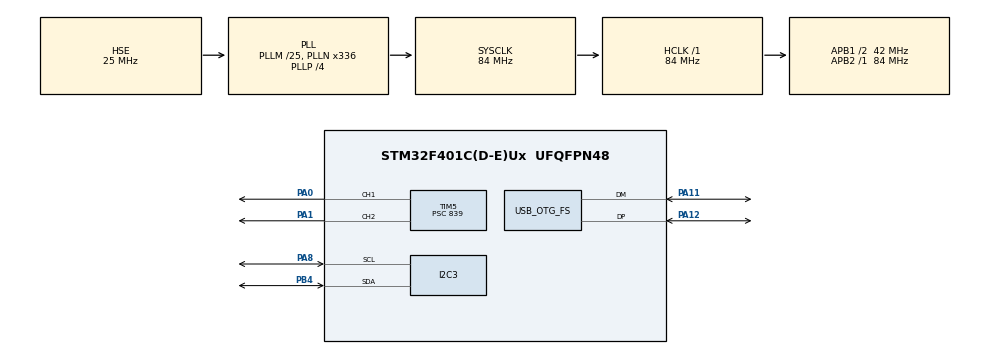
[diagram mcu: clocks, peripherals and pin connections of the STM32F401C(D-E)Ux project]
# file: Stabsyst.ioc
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I2C3.I2C_Mode=I2C_Fast
I2C3.OwnAddress=51
Mcu.Family=STM32F4
Mcu.Name=STM32F401C(D-E)Ux
Mcu.Package=UFQFPN48
NVIC.OTG_FS_IRQn=true\:0\:0\:false\:false\:true\:false\:true\:true
NVIC.PriorityGroup=NVIC_PRIORITYGROUP_4
NVIC.TIM1_UP_TIM10_IRQn=true\:0\:0\:false\:false\:true\:true\:true\:true
PA0-WKUP.Signal=S_TIM5_CH1
PA1.Signal=S_TIM5_CH2
PA11.Mode=Device_Only
PA11.Signal=USB_OTG_FS_DM
PA12.Mode=Device_Only
PA12.Signal=USB_OTG_FS_DP
PA8.Mode=I2C
PA8.Signal=I2C3_SCL
PB4.Mode=I2C
PB4.Signal=I2C3_SDA
PH0\ -\ OSC_IN.Mode=HSE-External-Oscillator
PH0\ -\ OSC_IN.Signal=RCC_OSC_IN
PH1\ -\ OSC_OUT.Mode=HSE-External-Oscillator
PH1\ -\ OSC_OUT.Signal=RCC_OSC_OUT
ProjectManager.HeapSize=0x200
ProjectManager.StackSize=0x400
ProjectManager.TargetToolchain=STM32CubeIDE
RCC.48MHZClocksFreq_Value=48000000
RCC.AHBFreq_Value=84000000
RCC.APB1CLKDivider=RCC_HCLK_DIV2
RCC.APB1Freq_Value=42000000
RCC.APB1TimFreq_Value=84000000
RCC.APB2Freq_Value=84000000
RCC.APB2TimFreq_Value=84000000
RCC.CortexFreq_Value=84000000
RCC.HCLKFreq_Value=84000000
RCC.HSE_VALUE=25000000
RCC.HSI_VALUE=16000000
RCC.LSE_VALUE=32768
RCC.PLLM=25
RCC.PLLN=336
RCC.PLLP=RCC_PLLP_DIV4
RCC.PLLQ=7
RCC.SYSCLKFreq_VALUE=84000000
RCC.SYSCLKSource=RCC_SYSCLKSOURCE_PLLCLK
RCC.VCOOutputFreq_Value=336000000
SH.S_TIM5_CH1.0=TIM5_CH1,PWM Generation1 CH1
SH.S_TIM5_CH2.0=TIM5_CH2,PWM Generation2 CH2
TIM1.Period=4999
TIM1.Prescaler=8399
TIM2.Prescaler=8399
TIM5.Channel-PWM\ Generation1\ CH1=TIM_CHANNEL_1
TIM5.Channel-PWM\ Generation2\ CH2=TIM_CHANNEL_2
TIM5.OCFastMode_PWM-PWM\ Generation1\ CH1=TIM_OCFAST_ENABLE
TIM5.OCFastMode_PWM-PWM\ Generation2\ CH2=TIM_OCFAST_ENABLE
TIM5.Period=1999
TIM5.Prescaler=839
TIM5.Pulse-PWM\ Generation1\ CH1=50
TIM5.Pulse-PWM\ Generation2\ CH2=50
USB_DEVICE.CLASS_NAME_FS=CDC
USB_DEVICE.MANUFACTURER_STRING-CDC_FS=21-IVT-3_Gorkaev_Gleb
USB_DEVICE.PRODUCT_STRING_CDC_FS=Car_model_stabsystem
USB_DEVICE.VirtualMode-CDC_FS=Cdc
USB_DEVICE.VirtualModeFS=Cdc_FS
USB_OTG_FS.VirtualMode=Device_Only
VP_TIM1_VS_ClockSourceINT.Mode=Internal
VP_TIM2_VS_ClockSourceINT.Mode=Internal
VP_TIM5_VS_ClockSourceINT.Mode=Internal
VP_USB_DEVICE_VS_USB_DEVICE_CDC_FS.Mode=CDC_FS
board=custom

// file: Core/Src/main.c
/* USER CODE BEGIN Header */
/**
  ******************************************************************************
  * @file           : main.c
  * @brief          : Main program body
  ******************************************************************************
  * @attention
  *
  * Copyright (c) 2022 STMicroelectronics.
  * All rights reserved.
  *
  * This software is licensed under terms that can be found in the LICENSE file
  * in the root directory of this software component.
  * If no LICENSE file comes with this software, it is provided AS-IS.
  *
  ******************************************************************************
  */
/* USER CODE END Header */
#include "main.h"
#include "usb_device.h"

/* USER CODE BEGIN Includes */
#include "lsm6ds3.h"
#include "usbd_cdc_if.h"
/* USER CODE END Includes */

/* USER CODE BEGIN PTD */
/**
  ******************************************************************************
  * @file           : main.c
  * @brief          : IChannel - пользовательский тип данных, представляющий
  * собой структуру из 2 переменных целого типа для работы с таймерами
  ******************************************************************************
  */
typedef struct TS{
	int32_t IChannel_1;
	int32_t IChannel_2;
} IChannel;
/* USER CODE END PTD */

 I2C_HandleTypeDef hi2c3;

TIM_HandleTypeDef htim1;
TIM_HandleTypeDef htim2;
TIM_HandleTypeDef htim5;

/* USER CODE BEGIN PV */
IChannel GetChannel;
int16_t AItarget;
uint8_t mode;
float delta;
float P,I,D;
int32_t send;
char str_tx[10];
/* USER CODE END PV */

void SystemClock_Config(void);
static void MX_GPIO_Init(void);
static void MX_I2C3_Init(void);
static void MX_TIM2_Init(void);
static void MX_TIM5_Init(void);
static void MX_TIM1_Init(void);
/* USER CODE BEGIN PFP */
void getchannel(IChannel*, TIM_HandleTypeDef*);
void writechannel(IChannel*);
void P_correction(float*);
void I_correction(float*);
void D_correction(float*);
/* USER CODE END PFP */

int main(void)
{
  /* USER CODE BEGIN 1 */
	AItarget = 0;
	mode = 1;
	delta = 0;
	P = P_Coef;
	I = I_Coef;
	D = D_Coef;
  /* USER CODE END 1 */

  /* MCU Configuration--------------------------------------------------------*/

  /* Reset of all peripherals, Initializes the Flash interface and the Systick. */
  HAL_Init();

  /* Configure the system clock */
  SystemClock_Config();

  /* Initialize all configured peripherals */
  MX_GPIO_Init();
  MX_I2C3_Init();
  MX_TIM2_Init();
  MX_USB_DEVICE_Init();
  MX_TIM5_Init();
  MX_TIM1_Init();
  /* USER CODE BEGIN 2 */
  int16_t temp = 147;
  ////////////////////////////////////////////////
  HAL_TIM_PWM_Start(&htim5, TIM_CHANNEL_1);		//инициализация таймеров,
  htim5.Instance->CCR1 = temp;
  HAL_TIM_PWM_Start(&htim5, TIM_CHANNEL_2);		//управляющих приводами
  htim5.Instance->CCR2 = temp;
  ////////////////////////////////////////////////
  HAL_TIM_Base_Start(&htim2);					//инициализация таймера, определяющего dt
  ////////////////////////////////////////////////
  HAL_TIM_Base_Start_IT(&htim1);				//инициализация таймера, определяющего длительность отклонения
    //////////////////////////////////////////////
  Accel_Gyro_Ini();								//инициализация гироскопа-акселерометра
  ////////////////////////////////////////////////
  HAL_Delay(2000);
  /* USER CODE END 2 */

  /* Infinite loop */
  /* USER CODE BEGIN WHILE */
  while (1)
  {
	if(mode == 1){
		temp = 147 + correction(getzgyr(), AItarget, P, I, D, &htim2);
		delta = temp - 147;
	}else if(mode == 0){
		temp = 147;
	}
	GetChannel.IChannel_1 = temp;
	writechannel(&GetChannel);
    /* USER CODE END WHILE */

  }
}

void SystemClock_Config(void)
{
  RCC_OscInitTypeDef RCC_OscInitStruct = {0};
  RCC_ClkInitTypeDef RCC_ClkInitStruct = {0};

  /** Configure the main internal regulator output voltage
  */
  __HAL_RCC_PWR_CLK_ENABLE();
  __HAL_PWR_VOLTAGESCALING_CONFIG(PWR_REGULATOR_VOLTAGE_SCALE2);

  /** Initializes the RCC Oscillators according to the specified parameters
  * in the RCC_OscInitTypeDef structure.
  */
  RCC_OscInitStruct.OscillatorType = RCC_OSCILLATORTYPE_HSE;
  RCC_OscInitStruct.HSEState = RCC_HSE_ON;
  RCC_OscInitStruct.PLL.PLLState = RCC_PLL_ON;
  RCC_OscInitStruct.PLL.PLLSource = RCC_PLLSOURCE_HSE;
  RCC_OscInitStruct.PLL.PLLM = 25;
  RCC_OscInitStruct.PLL.PLLN = 336;
  RCC_OscInitStruct.PLL.PLLP = RCC_PLLP_DIV4;
  RCC_OscInitStruct.PLL.PLLQ = 7;
  if (HAL_RCC_OscConfig(&RCC_OscInitStruct) != HAL_OK)
  {
    Error_Handler();
  }

  /** Initializes the CPU, AHB and APB buses clocks
  */
  RCC_ClkInitStruct.ClockType = RCC_CLOCKTYPE_HCLK|RCC_CLOCKTYPE_SYSCLK
                              |RCC_CLOCKTYPE_PCLK1|RCC_CLOCKTYPE_PCLK2;
  RCC_ClkInitStruct.SYSCLKSource = RCC_SYSCLKSOURCE_PLLCLK;
  RCC_ClkInitStruct.AHBCLKDivider = RCC_SYSCLK_DIV1;
  RCC_ClkInitStruct.APB1CLKDivider = RCC_HCLK_DIV2;
  RCC_ClkInitStruct.APB2CLKDivider = RCC_HCLK_DIV1;

  if (HAL_RCC_ClockConfig(&RCC_ClkInitStruct, FLASH_LATENCY_2) != HAL_OK)
  {
    Error_Handler();
  }
}

static void MX_I2C3_Init(void)
{

  hi2c3.Instance = I2C3;
  hi2c3.Init.ClockSpeed = 400000;
  hi2c3.Init.DutyCycle = I2C_DUTYCYCLE_2;
  hi2c3.Init.OwnAddress1 = 102;
  hi2c3.Init.AddressingMode = I2C_ADDRESSINGMODE_7BIT;
  hi2c3.Init.DualAddressMode = I2C_DUALADDRESS_DISABLE;
  hi2c3.Init.OwnAddress2 = 0;
  hi2c3.Init.GeneralCallMode = I2C_GENERALCALL_DISABLE;
  hi2c3.Init.NoStretchMode = I2C_NOSTRETCH_DISABLE;
  if (HAL_I2C_Init(&hi2c3) != HAL_OK)
  {
    Error_Handler();
  }

}

static void MX_TIM1_Init(void)
{

  TIM_ClockConfigTypeDef sClockSourceConfig = {0};
  TIM_MasterConfigTypeDef sMasterConfig = {0};

  htim1.Instance = TIM1;
  htim1.Init.Prescaler = 8399;
  htim1.Init.CounterMode = TIM_COUNTERMODE_UP;
  htim1.Init.Period = 4999;
  htim1.Init.ClockDivision = TIM_CLOCKDIVISION_DIV1;
  htim1.Init.RepetitionCounter = 0;
  htim1.Init.AutoReloadPreload = TIM_AUTORELOAD_PRELOAD_DISABLE;
  if (HAL_TIM_Base_Init(&htim1) != HAL_OK)
  {
    Error_Handler();
  }
  sClockSourceConfig.ClockSource = TIM_CLOCKSOURCE_INTERNAL;
  if (HAL_TIM_ConfigClockSource(&htim1, &sClockSourceConfig) != HAL_OK)
  {
    Error_Handler();
  }
  sMasterConfig.MasterOutputTrigger = TIM_TRGO_RESET;
  sMasterConfig.MasterSlaveMode = TIM_MASTERSLAVEMODE_DISABLE;
  if (HAL_TIMEx_MasterConfigSynchronization(&htim1, &sMasterConfig) != HAL_OK)
  {
    Error_Handler();
  }

}

static void MX_TIM2_Init(void)
{

  TIM_ClockConfigTypeDef sClockSourceConfig = {0};
  TIM_MasterConfigTypeDef sMasterConfig = {0};

  htim2.Instance = TIM2;
  htim2.Init.Prescaler = 8399;
  htim2.Init.CounterMode = TIM_COUNTERMODE_UP;
  htim2.Init.Period = 4294967295;
  htim2.Init.ClockDivision = TIM_CLOCKDIVISION_DIV1;
  htim2.Init.AutoReloadPreload = TIM_AUTORELOAD_PRELOAD_DISABLE;
  if (HAL_TIM_Base_Init(&htim2) != HAL_OK)
  {
    Error_Handler();
  }
  sClockSourceConfig.ClockSource = TIM_CLOCKSOURCE_INTERNAL;
  if (HAL_TIM_ConfigClockSource(&htim2, &sClockSourceConfig) != HAL_OK)
  {
    Error_Handler();
  }
  sMasterConfig.MasterOutputTrigger = TIM_TRGO_RESET;
  sMasterConfig.MasterSlaveMode = TIM_MASTERSLAVEMODE_DISABLE;
  if (HAL_TIMEx_MasterConfigSynchronization(&htim2, &sMasterConfig) != HAL_OK)
  {
    Error_Handler();
  }

}

static void MX_TIM5_Init(void)
{

  TIM_ClockConfigTypeDef sClockSourceConfig = {0};
  TIM_MasterConfigTypeDef sMasterConfig = {0};
  TIM_OC_InitTypeDef sConfigOC = {0};

  htim5.Instance = TIM5;
  htim5.Init.Prescaler = 839;
  htim5.Init.CounterMode = TIM_COUNTERMODE_UP;
  htim5.Init.Period = 1999;
  htim5.Init.ClockDivision = TIM_CLOCKDIVISION_DIV1;
  htim5.Init.AutoReloadPreload = TIM_AUTORELOAD_PRELOAD_DISABLE;
  if (HAL_TIM_Base_Init(&htim5) != HAL_OK)
  {
    Error_Handler();
  }
  sClockSourceConfig.ClockSource = TIM_CLOCKSOURCE_INTERNAL;
  if (HAL_TIM_ConfigClockSource(&htim5, &sClockSourceConfig) != HAL_OK)
  {
    Error_Handler();
  }
  if (HAL_TIM_PWM_Init(&htim5) != HAL_OK)
  {
    Error_Handler();
  }
  sMasterConfig.MasterOutputTrigger = TIM_TRGO_RESET;
  sMasterConfig.MasterSlaveMode = TIM_MASTERSLAVEMODE_DISABLE;
  if (HAL_TIMEx_MasterConfigSynchronization(&htim5, &sMasterConfig) != HAL_OK)
  {
    Error_Handler();
  }
  sConfigOC.OCMode = TIM_OCMODE_PWM1;
  sConfigOC.Pulse = 50;
  sConfigOC.OCPolarity = TIM_OCPOLARITY_HIGH;
  sConfigOC.OCFastMode = TIM_OCFAST_ENABLE;
  if (HAL_TIM_PWM_ConfigChannel(&htim5, &sConfigOC, TIM_CHANNEL_1) != HAL_OK)
  {
    Error_Handler();
  }
  if (HAL_TIM_PWM_ConfigChannel(&htim5, &sConfigOC, TIM_CHANNEL_2) != HAL_OK)
  {
    Error_Handler();
  }
  HAL_TIM_MspPostInit(&htim5);

}

static void MX_GPIO_Init(void)
{

  /* GPIO Ports Clock Enable */
  __HAL_RCC_GPIOH_CLK_ENABLE();
  __HAL_RCC_GPIOA_CLK_ENABLE();
  __HAL_RCC_GPIOB_CLK_ENABLE();

}

/* USER CODE BEGIN 4 */
/**
  ******************************************************************************
  * @file           : main.c
  * @brief          : writechannel() - функция вывода сигнала на управляющие
  * устройства
  ******************************************************************************
  */
void writechannel(IChannel *temp){
	htim5.Instance->CCR1 = (temp->IChannel_1>=100 ?(temp->IChannel_1<=200? temp->IChannel_1 : 200):100);
	htim5.Instance->CCR2 = (temp->IChannel_2>=100 ?(temp->IChannel_2<=200? temp->IChannel_2 : 200):100);
}
/**
  ******************************************************************************
  * @file           : main.c
  * @brief          : P_correction() - функция коррекции коэффициента P
  ******************************************************************************
  */
void P_correction(float* p){
	//функция коррекции коэффициента P

}
/**
  ******************************************************************************
  * @file           : main.c
  * @brief          : P_correction() - функция коррекции коэффициента I
  ******************************************************************************
  */
void I_correction(float* i){
	//функция коррекции коэффициента I

}
/**
  ******************************************************************************
  * @file           : main.c
  * @brief          : P_correction() - функция коррекции коэффициента D
  ******************************************************************************
  */
void D_correction(float* d){
	//функция коррекции коэффициента D

}
/**
  ******************************************************************************
  * @file           : main.c
  * @brief          : HAL_TIM_PeriodElapsedCallback() - функция обработки
  * прерываний, используемая для корректировки коэффициентов при превышении
  * времени работы коррекции
  ******************************************************************************
  */
void HAL_TIM_PeriodElapsedCallback(TIM_HandleTypeDef *htim){
	if(htim->Instance == TIM1){
		P_correction(&P);
		I_correction(&I);
		D_correction(&D);
	}
}
/* USER CODE END 4 */

void Error_Handler(void)
{
  __disable_irq();
  while (1)
  {
  }
}
